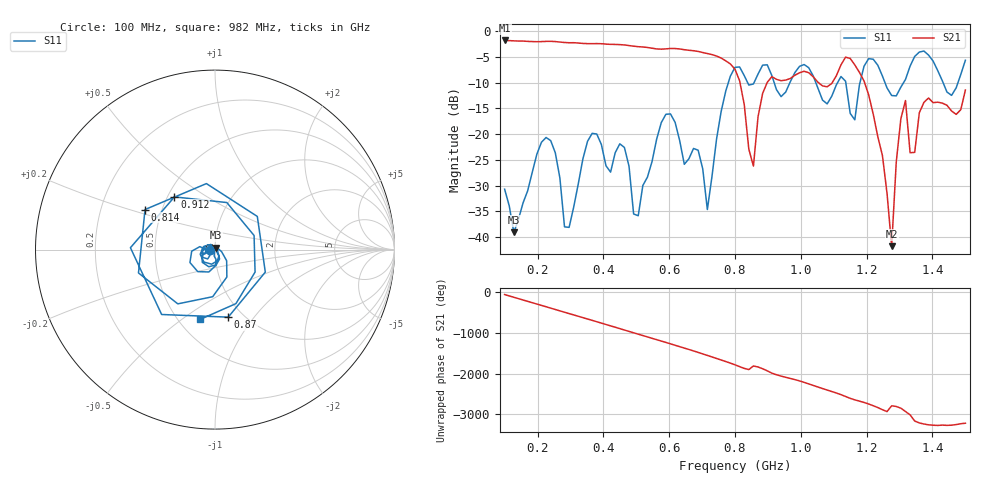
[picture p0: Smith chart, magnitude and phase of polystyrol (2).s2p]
! NanoVNA-App
! Date: 2025-09-25 15:29:54
! Start: 100MHz Stop: 1,5GHz Points: 101
! S-Parameter data: F S11 S21 S12 S22
# Hz S RI R 50
!  Frequency  S11_Real  S11_Imag  S21_Real  S21_Imag  S12_Real  S12_Imag  S22_Real  S22_Imag
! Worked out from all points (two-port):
!   101 points, 100 MHz to 1.5 GHz, reference 50 ohm
!   highest |S21| = -1.80 dB at 100 MHz (marker M1); lowest = -41.8 dB at 1.276 GHz (marker M2)
!   |S21| within 3 dB of the highest: start of sweep to 742.5 MHz
!   lowest |S11| = -39.1 dB at 128 MHz (marker M3), VSWR 1.02, Z = 50.3 + j1.06 ohm
!   |S11| at or under -10 dB: start of sweep to 779.8 MHz; 1.046 GHz to 1.112 GHz (66.12 MHz wide, 6.13 % of centre); 1.256 GHz to 1.312 GHz (56.4 MHz wide, 4.39 % of centre) (the widest 3 of 7)
!   S12 and S22 are empty: the file has one direction only
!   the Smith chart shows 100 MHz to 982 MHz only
!   S11 on the Smith chart (normalised r, x): 100 MHz: 0.94, -0.01; 814 MHz: 0.40, +0.23; 870 MHz: 0.85, -0.75; 912 MHz: 0.54, +0.37; 982 MHz: 0.64, -0.59
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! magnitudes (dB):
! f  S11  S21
! 100 MHz  -30.7  -1.8
! 128 MHz  -39.1  -1.9
! 212 MHz  -21.6  -2.0
! 282 MHz  -38.0  -2.2
! 338 MHz  -24.8  -2.4
! 464 MHz  -22.6  -2.7
! 506 MHz  -35.9  -3.0
! 576 MHz  -17.8  -3.5
! 716 MHz  -34.7  -4.3
! 800 MHz  -7.0  -7.4
! 814 MHz  -7.0  -9.6
! 856 MHz  -10.3  -26.2
! 870 MHz  -8.3  -16.6
! 912 MHz  -8.6  -8.8
! 982 MHz  -8.0  -8.6
! 1.038 GHz  -8.7  -8.9
! 1.164 GHz  -17.2  -6.5
! 1.192 GHz  -6.8  -9.7
! 1.276 GHz  -12.5  -41.8
! 1.318 GHz  -9.4  -13.5
! 1.346 GHz  -4.9  -23.6
! 1.5 GHz  -5.6  -11.4
